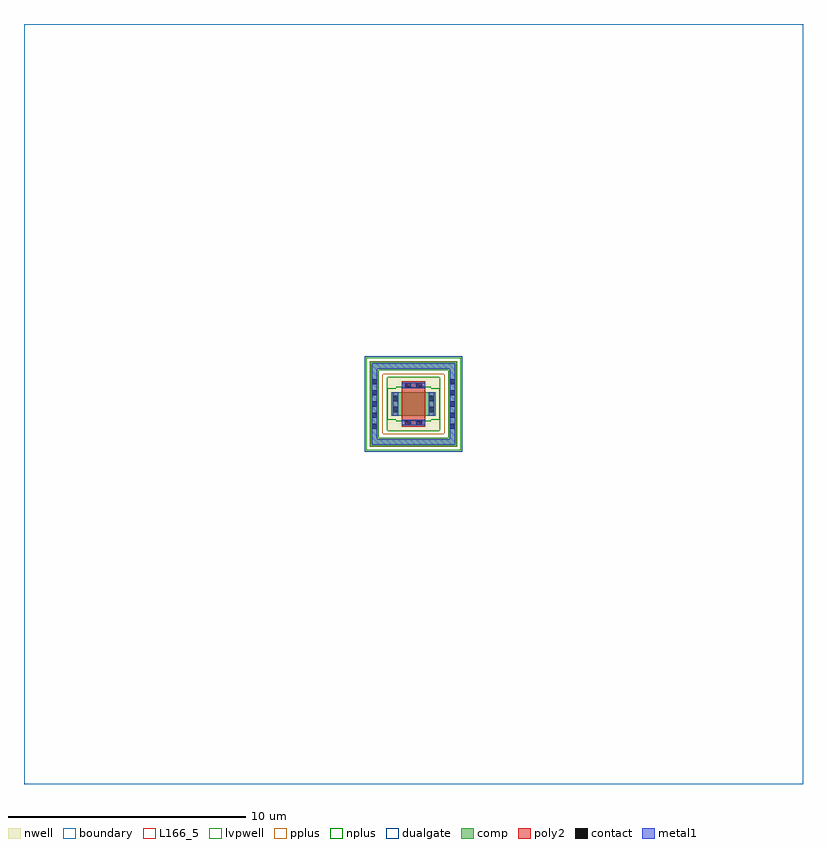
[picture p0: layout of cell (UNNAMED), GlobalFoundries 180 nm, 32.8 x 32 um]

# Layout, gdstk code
import gdstk
lib = gdstk.Library(unit=1e-6, precision=1e-09)
def R(c, l, rs):  # rectangles x0, y0, x1, y1
    for r in rs: c.add(gdstk.rectangle(r[:2], r[2:], *l))
def A(c, l, x, y, w, h, nx, ny, dx, dy):  # array of equal rectangles
    R(c, l, [(x+i*dx, y+j*dy, x+i*dx+w, y+j*dy+h) for i in range(nx) for j in range(ny)])
boundary = (0, 0)
nwell = (21, 0)
comp = (22, 0)
poly2 = (30, 0)
pplus = (31, 0)
nplus = (32, 0)
contact = (33, 0)
metal1 = (34, 0)
dualgate = (55, 0)
L166_5 = (166, 5)
lvpwell = (204, 0)

c__unnamed_ = lib.new_cell('(UNNAMED)')
R(c__unnamed_, boundary, [(-16.4,-16,16.4,16)])
R(c__unnamed_, nwell, [(-1.1,-1.12,1.1,1.12)])
R(c__unnamed_, comp, [(-1.82,-1.78,1.82,-1.42), (-1.82,-1.42,-1.46,1.42), (1.46,-1.42,1.82,1.42), (-0.94,-0.5,0.94,0.5), (-1.82,1.42,1.82,1.78)])
R(c__unnamed_, poly2, [(-0.5,-0.96,0.5,0.96)])
R(c__unnamed_, pplus, [(-1.84,-1.8,1.84,-1.295), (-1.85,-1.295,1.85,-1.26), (-1.85,-1.26,-1.3,1.26), (1.3,-1.26,1.85,1.26), (-1.85,1.26,1.85,1.295), (-1.84,1.295,1.84,1.8)])
R(c__unnamed_, nplus, [(-0.73,-0.73,0.73,-0.66), (-1.1,-0.66,1.1,0.66), (-0.73,0.66,0.73,0.73)])
A(c__unnamed_, contact, -1.75, -1.05, 0.22, 0.22, 1, 5, 0, 0.47)
A(c__unnamed_, contact, 1.53, -1.05, 0.22, 0.22, 1, 5, 0, 0.47)
R(c__unnamed_, contact, [(-0.345,-0.89,-0.125,-0.67), (0.125,-0.89,0.345,-0.67), (-0.87,-0.345,-0.65,-0.125), (0.65,-0.345,0.87,-0.125), (-0.87,0.125,-0.65,0.345), (0.65,0.125,0.87,0.345), (-0.345,0.67,-0.125,0.89), (0.125,0.67,0.345,0.89)])
R(c__unnamed_, metal1, [(-1.755,-1.715,1.755,-1.485), (-1.755,-1.485,-1.525,1.485), (1.525,-1.485,1.755,1.485), (-0.49,-0.895,0.49,-0.665), (-0.875,-0.49,-0.645,0.49), (0.645,-0.49,0.875,0.49), (-0.49,0.665,0.49,0.895), (-1.755,1.485,1.755,1.715)])
R(c__unnamed_, dualgate, [(-2.06,-2.02,2.06,2.02)])
R(c__unnamed_, L166_5, [(-0.5,-0.5,0.5,0.5)])
R(c__unnamed_, lvpwell, [(-1.98,-1.94,1.98,-1.12), (-1.98,-1.12,-1.1,1.12), (1.1,-1.12,1.98,1.12), (-1.98,1.12,1.98,1.94)])

lib.write_gds('_UNNAMED_.gds')
